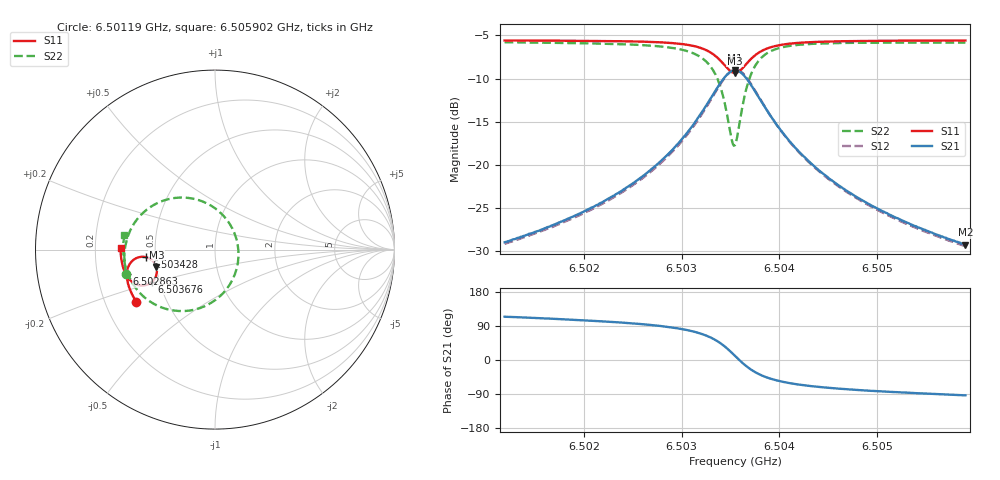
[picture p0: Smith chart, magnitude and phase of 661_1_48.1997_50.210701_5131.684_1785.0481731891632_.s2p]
#  HZ  S  RI  R  50.00
! Rohde & Schwarz Vector Network Analyzer
! Rohde-Schwarz,ZNB20-2Port,1311601062101988,3.16
! Created: UTC 3/20/2024, 12:05:43 PM
! freq[Hz]  re:S11  im:S11  re:S21  im:S21  re:S12  im:S12  re:S22  im:S22
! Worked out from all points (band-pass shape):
!   401 points, 6.50119 GHz to 6.505902 GHz, reference 50 ohm
!   highest |S21| = -9.03 dB at 6.503546 GHz (marker M1); lowest = -29.2 dB at 6.505902 GHz (marker M2)
!   |S21| within 3 dB of the highest: 6.503311 GHz to 6.503782 GHz (471 kHz wide, 0.00724 % of centre)
!   lowest |S11| = -9.3 dB at 6.503546 GHz (marker M3), VSWR 2.03, Z = 25 - j5.49 ohm
!   |S11| at or under -10 dB: nowhere
!   |S22| runs from -17.8 to -5.8 dB; largest |S21 - S12| = 0.013
!   S11 on the Smith chart (normalised r, x): 6.50119 GHz: 0.34, -0.27; 6.502863 GHz: 0.33, -0.12; 6.503428 GHz: 0.45, -0.04; 6.503676 GHz: 0.46, -0.19; 6.505902 GHz: 0.31, +0.01
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6.5011895e9  -0.4378 -0.292  -0.0146 0.0326  -0.0128 0.0326  -0.4956 -0.1339
6.5019789e9  -0.47 -0.2316  -0.0137 0.0513  -0.011 0.0508  -0.5051 -0.0462
6.5024266e9  -0.4845 -0.19  -0.0103 0.0727  -0.00678 0.0714  -0.4992 0.0217
6.5027683e9  -0.4913 -0.1501  -0.000295 0.1031  0.00384 0.1005  -0.4772 0.0959
6.5028626e9  -0.4916 -0.1366  0.00558 0.1155  0.00989 0.1123  -0.4642 0.1226
6.5030629e9  -0.4856 -0.102  0.0306 0.1523  0.0349 0.1473  -0.4122 0.1936
6.5032042e9  -0.4688 -0.0716  0.0724 0.1874  0.0757 0.1809  -0.3318 0.2537
6.5033338e9  -0.4311 -0.0447  0.1527 0.2138  0.154 0.2067  -0.1858 0.2899
6.5034281e9  -0.3826 -0.0426  0.2476 0.196  0.2484 0.1904  -0.021 0.2443
6.5035106e9  -0.3381 -0.0737  0.3289 0.1179  0.3319 0.1126  0.1089 0.0901
6.5035459e9  -0.3268 -0.0972  0.3472 0.067  0.3512 0.0602  0.1304 -0.00586
6.5035695e9  -0.3238 -0.1142  0.3505 0.0307  0.355 0.0226  0.1277 -0.0723
6.5036048e9  -0.3263 -0.1394  0.3427 -0.0215  0.3464 -0.032  0.0987 -0.1652
6.5036755e9  -0.3497 -0.1783  0.2934 -0.1009  0.2931 -0.1142  -0.0172 -0.2939
6.5037226e9  -0.3711 -0.1925  0.2513 -0.1307  0.2481 -0.1437  -0.1052 -0.3323
6.5037816e9  -0.3972 -0.1995  0.2023 -0.1477  0.1963 -0.1587  -0.2018 -0.3421
6.5039347e9  -0.4462 -0.19  0.1148 -0.1429  0.1068 -0.1489  -0.3593 -0.2911
6.5040997e9  -0.4747 -0.1685  0.0675 -0.1207  0.0602 -0.1235  -0.4356 -0.2218
6.5043353e9  -0.4959 -0.1387  0.0358 -0.0943  0.0302 -0.0949  -0.4811 -0.1463
6.5047005e9  -0.5119 -0.099  0.0154 -0.0686  0.0115 -0.0681  -0.5049 -0.0676
6.5051247e9  -0.521 -0.0588  0.00547 -0.0513  0.00277 -0.0507  -0.5114 -0.00381
6.5059023e9  -0.5261 0.0081  -0.00198 -0.0345  -0.00347 -0.0337  -0.5047 0.0824
